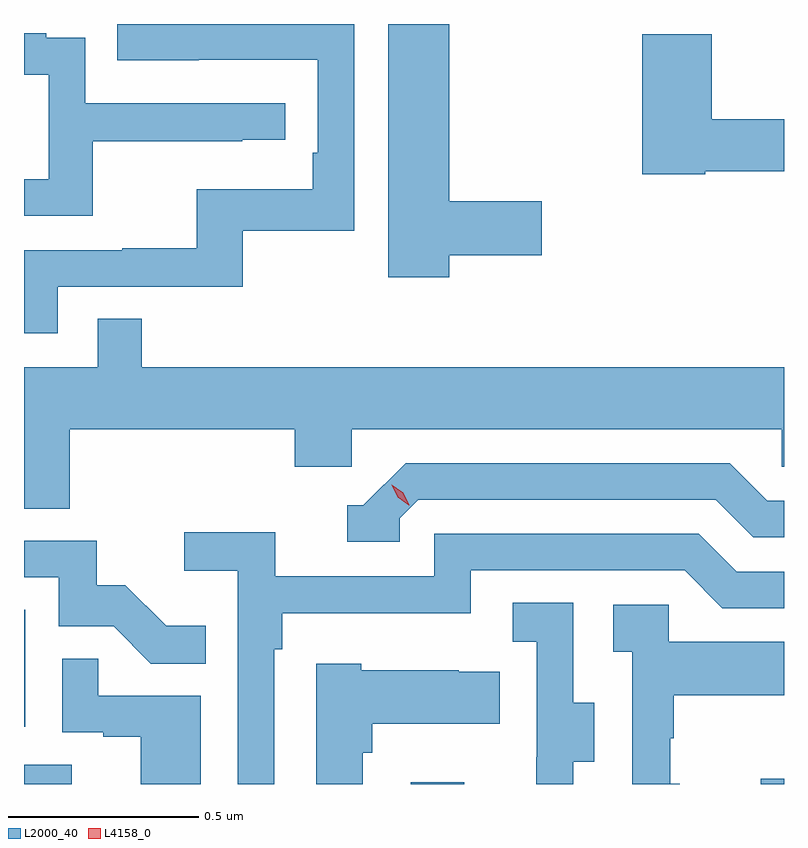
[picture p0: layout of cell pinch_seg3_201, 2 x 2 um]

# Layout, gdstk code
import gdstk
lib = gdstk.Library(unit=1e-6, precision=1e-09)
def R(c, l, rs):  # rectangles x0, y0, x1, y1
    for r in rs: c.add(gdstk.rectangle(r[:2], r[2:], *l))
def P(c, l, *ps):  # polygons
    for p in ps: c.add(gdstk.Polygon(p, *l))
L2000_40 = (2000, 40)
L4158_0 = (4158, 0)

pinch_seg3_201 = lib.new_cell('pinch_seg3_201')
R(pinch_seg3_201, L2000_40, [(973.339,742.607,973.465,742.658), (974.357,742.607,974.497,742.612), (975.278,742.607,975.339,742.621), (973.339,742.758,973.342,743.065)])
P(pinch_seg3_201, L2000_40, [(974.458,743.998),(974.701,743.998),(974.701,744.14),(974.458,744.14),(974.458,744.607),(974.297,744.607),(974.297,743.94),(974.458,743.94)],
  [(973.428,743.916),(973.915,743.916),(973.915,744.063),(974.208,744.063),(974.208,744.607),(973.585,744.607),(973.585,744.512),(973.799,744.512),(973.799,744.513),(974.112,744.513),(974.112,744.268),(974.099,744.268),(974.099,744.172),(973.794,744.172),(973.794,744.017),(973.597,744.017),(973.597,744.012),(973.339,744.012),(973.339,743.793),(973.428,743.793)],
  [(973.52,744.298),(973.913,744.298),(973.913,744.303),(974.026,744.303),(974.026,744.399),(973.5,744.399),(973.5,744.571),(973.397,744.571),(973.397,744.583),(973.339,744.583),(973.339,744.474),(973.404,744.474),(973.404,744.198),(973.339,744.198),(973.339,744.102),(973.52,744.102)],
  [(975.132,744.22),(975.339,744.22),(975.339,744.356),(975.149,744.356),(975.149,744.58),(974.966,744.58),(974.966,744.212),(975.132,744.212)],
  [(973.46,743.54),(974.051,743.54),(974.051,743.442),(974.202,743.442),(974.202,743.54),(975.333,743.54),(975.333,743.442),(975.339,743.442),(975.339,743.704),(973.649,743.704),(973.649,743.831),(973.533,743.831),(973.533,743.704),(973.339,743.704),(973.339,743.332),(973.46,743.332)],
  [(974.328,743.307),(974.376,743.355),(975.159,743.355),(975.258,743.256),(975.339,743.256),(975.339,743.352),(975.295,743.352),(975.196,743.451),(974.343,743.451),(974.232,743.34),(974.189,743.34),(974.189,743.244),(974.328,743.244)],
  [(973.998,742.961),(974.018,742.961),(974.018,743.057),(974.514,743.057),(974.514,743.169),(975.078,743.169),(975.177,743.07),(975.339,743.07),(975.339,743.166),(975.214,743.166),(975.115,743.265),(974.418,743.265),(974.418,743.154),(974,743.154),(974,743.27),(973.761,743.27),(973.761,743.168),(973.902,743.168),(973.902,742.607),(973.998,742.607)],
  [(973.817,743.023),(973.713,743.023),(973.606,743.13),(973.53,743.13),(973.53,743.247),(973.339,743.247),(973.339,743.151),(973.431,743.151),(973.431,743.022),(973.575,743.022),(973.673,742.924),(973.817,742.924)],
  [(974.785,742.666),(974.839,742.666),(974.839,742.821),(974.784,742.821),(974.784,743.084),(974.625,743.084),(974.625,742.981),(974.688,742.981),(974.688,742.677),(974.687,742.677),(974.687,742.607),(974.785,742.607)],
  [(975.064,742.608),(975.039,742.608),(975.039,742.727),(975.049,742.727),(975.049,742.841),(975.339,742.841),(975.339,742.981),(975.036,742.981),(975.036,743.079),(974.889,743.079),(974.889,742.955),(974.94,742.955),(974.94,742.607),(975.064,742.607)],
  [(973.804,742.839),(973.535,742.839),(973.535,742.937),(973.44,742.937),(973.44,742.743),(973.547,742.743),(973.547,742.731),(973.646,742.731),(973.646,742.607),(973.804,742.607)],
  [(974.23,742.689),(974.256,742.689),(974.256,742.766),(974.591,742.766),(974.591,742.903),(974.483,742.903),(974.483,742.906),(974.226,742.906),(974.226,742.924),(974.108,742.924),(974.108,742.607),(974.23,742.607)])
P(pinch_seg3_201, L4158_0, [(974.352,743.341),(974.322,743.361),(974.307,743.394),(974.307,743.395),(974.307,743.395),(974.337,743.374),(974.353,743.341),(974.353,743.341)])

lib.write_gds('pinch_seg3_201.gds')
